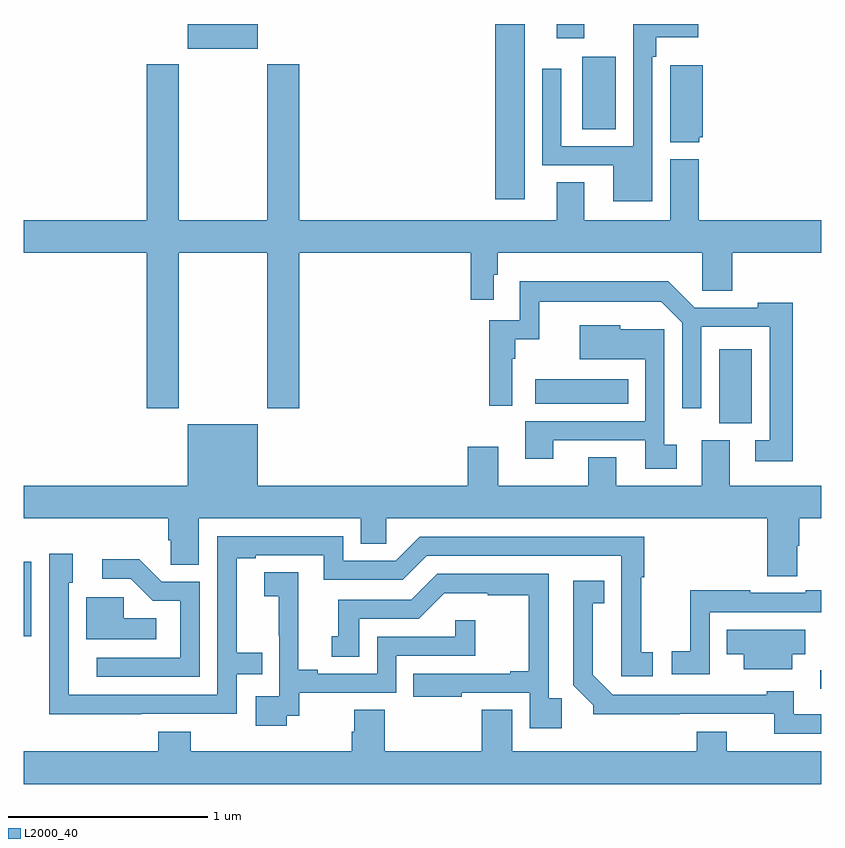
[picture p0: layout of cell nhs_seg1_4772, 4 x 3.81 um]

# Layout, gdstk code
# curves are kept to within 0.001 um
import gdstk
lib = gdstk.Library(unit=1e-6, precision=1e-09)
def R(c, l, rs):  # rectangles x0, y0, x1, y1
    for r in rs: c.add(gdstk.rectangle(r[:2], r[2:], *l))
def P(c, l, *ps):  # polygons
    for p in ps: c.add(gdstk.Polygon(p, *l))
L2000_40 = (2000, 40)

nhs_seg1_4772 = lib.new_cell('nhs_seg1_4772')
R(nhs_seg1_4772, L2000_40, [(372.995,562.865,373,562.959), (369,563.13,369.039,563.502), (372.488,564.196,372.652,564.568), (371.565,564.296,372.032,564.418), (371.366,565.32,371.512,566.199), (371.801,565.672,371.968,566.035), (369.824,566.075,370.174,566.199), (371.672,566.127,371.812,566.199)])
P(nhs_seg1_4772, L2000_40, [(372.153,566.036),(372.173,566.036),(372.173,566.132),(372.382,566.132),(372.382,566.199),(372.057,566.199),(372.057,565.587),(371.697,565.587),(371.697,565.975),(371.601,565.975),(371.601,565.491),(371.957,565.491),(371.957,565.31),(372.153,565.31)],
  [(369.777,565.052),(370.222,565.052),(370.222,564.273),(370.382,564.273),(370.382,565.052),(371.242,565.052),(371.242,564.816),(371.358,564.816),(371.358,564.942),(371.378,564.942),(371.378,565.052),(372.403,565.052),(372.403,564.862),(372.554,564.862),(372.554,565.052),(373,565.052),(373,565.216),(372.386,565.216),(372.386,565.522),(372.242,565.522),(372.242,565.216),(371.812,565.216),(371.812,565.406),(371.672,565.406),(371.672,565.216),(370.382,565.216),(370.382,565.996),(370.222,565.996),(370.222,565.216),(369.777,565.216),(369.777,565.996),(369.617,565.996),(369.617,565.216),(369,565.216),(369,565.052),(369.617,565.052),(369.617,564.273),(369.777,564.273)],
  [(372.387,565.632),(372.406,565.632),(372.406,565.993),(372.242,565.993),(372.242,565.607),(372.387,565.607)],
  [(372.857,564.802),(372.681,564.802),(372.681,564.777),(372.366,564.777),(372.233,564.91),(371.487,564.91),(371.487,564.714),(371.335,564.714),(371.335,564.285),(371.451,564.285),(371.451,564.521),(371.464,564.521),(371.464,564.617),(371.585,564.617),(371.585,564.806),(372.198,564.807),(372.303,564.702),(372.303,564.273),(372.399,564.273),(372.399,564.681),(372.741,564.681),(372.741,564.111),(372.669,564.111),(372.669,564.006),(372.857,564.006)],
  [(372.274,564.09),(372.213,564.09),(372.213,564.669),(371.991,564.669),(371.991,564.688),(371.789,564.688),(371.789,564.518),(372.117,564.518),(372.117,564.207),(371.516,564.207),(371.516,564.018),(371.656,564.018),(371.656,564.111),(372.116,564.111),(372.116,563.97),(372.274,563.97)],
  [(372.88,563.582),(372.888,563.582),(372.888,563.72),(373,563.72),(373,563.884),(372.541,563.884),(372.541,564.111),(372.401,564.111),(372.401,563.884),(371.971,563.884),(371.971,564.026),(371.831,564.026),(371.831,563.884),(371.38,563.884),(371.38,564.079),(371.228,564.079),(371.228,563.884),(370.174,563.884),(370.174,564.193),(369.824,564.193),(369.824,563.884),(369,563.884),(369,563.72),(369.725,563.72),(369.725,563.611),(369.738,563.611),(369.738,563.488),(369.877,563.488),(369.877,563.72),(370.691,563.72),(370.691,563.593),(370.818,563.593),(370.818,563.72),(372.728,563.72),(372.728,563.431),(372.88,563.431)],
  [(369.59,562.74),(370.068,562.74),(370.068,562.938),(370.196,562.938),(370.196,563.047),(370.069,563.047),(370.069,563.52),(370.165,563.52),(370.165,563.535),(370.506,563.535),(370.506,563.412),(370.902,563.412),(371.022,563.532),(371.997,563.532),(371.996,562.929),(372.154,562.929),(372.154,563.049),(372.096,563.049),(372.096,563.425),(372.113,563.425),(372.113,563.628),(370.986,563.628),(370.866,563.508),(370.602,563.508),(370.602,563.631),(369.972,563.631),(369.972,562.836),(369.225,562.836),(369.225,563.397),(369.247,563.397),(369.247,563.542),(369.129,563.542),(369.128,562.739)],
  [(369.882,563.403),(369.693,563.403),(369.58,563.516),(369.393,563.516),(369.393,563.418),(369.537,563.418),(369.648,563.307),(369.786,563.307),(369.786,563.022),(369.366,563.022),(369.366,562.926),(369.882,562.926)],
  [(370.32,562.731),(370.382,562.731),(370.382,562.845),(370.869,562.845),(370.869,563.031),(371.264,563.031),(371.264,563.209),(371.163,563.209),(371.163,563.127),(370.773,563.127),(370.773,562.941),(370.474,562.941),(370.474,562.961),(370.378,562.961),(370.378,563.339),(370.376,563.339),(370.376,563.45),(370.206,563.45),(370.206,563.329),(370.28,563.329),(370.28,563.131),(370.281,563.131),(370.281,562.827),(370.164,562.827),(370.164,562.68),(370.32,562.68)],
  [(371.699,562.819),(371.634,562.819),(371.634,563.442),(371.073,563.442),(370.944,563.313),(370.577,563.313),(370.577,563.13),(370.544,563.13),(370.544,563.026),(370.684,563.026),(370.684,563.217),(370.98,563.217),(371.108,563.345),(371.327,563.345),(371.327,563.334),(371.533,563.334),(371.533,562.954),(371.441,562.954),(371.441,562.941),(370.954,562.941),(370.954,562.826),(371.197,562.826),(371.197,562.845),(371.538,562.845),(371.538,562.668),(371.699,562.668)],
  [(373,562.737),(372.862,562.737),(372.862,562.852),(372.726,562.852),(372.726,562.836),(371.955,562.836),(371.854,562.937),(371.854,563.294),(371.912,563.294),(371.912,563.407),(371.757,563.407),(371.757,562.882),(371.856,562.783),(371.856,562.739),(372.763,562.74),(372.763,562.641),(373,562.641)],
  [(372.441,563.25),(373,563.25),(373,563.359),(372.923,563.359),(372.923,563.346),(372.644,563.346),(372.644,563.359),(372.343,563.359),(372.343,563.054),(372.249,563.054),(372.249,562.938),(372.441,562.938)],
  [(369.664,563.218),(369.501,563.218),(369.501,563.325),(369.314,563.325),(369.314,563.114),(369.664,563.114)],
  [(372.853,563.039),(372.919,563.039),(372.919,563.161),(372.526,563.161),(372.526,563.039),(372.611,563.039),(372.611,562.964),(372.853,562.964)],
  [(373,562.552),(372.526,562.552),(372.526,562.651),(372.374,562.651),(372.374,562.552),(371.449,562.552),(371.449,562.76),(371.297,562.76),(371.297,562.552),(370.811,562.552),(370.811,562.76),(370.658,562.76),(370.658,562.65),(370.646,562.65),(370.646,562.552),(369.839,562.552),(369.839,562.651),(369.674,562.651),(369.674,562.552),(369,562.552),(369,562.388),(373,562.388)])

lib.write_gds('nhs_seg1_4772.gds')
